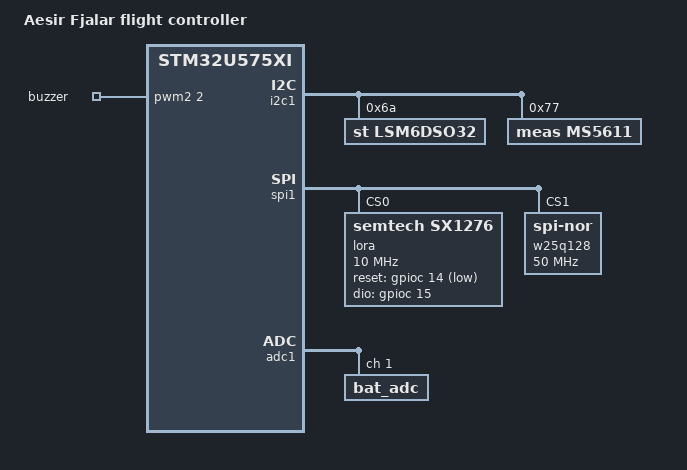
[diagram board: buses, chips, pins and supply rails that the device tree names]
/dts-v1/;

#include <st/u5/stm32u575Xi.dtsi>
#include <st/u5/stm32u575zitxq-pinctrl.dtsi>
#include "fjalar.dtsi"

/ {

    model = "Aesir Fjalar flight controller";
	compatible = "aesir,fjalar";

	#address-cells = <1>;
	#size-cells = <1>;

	chosen {
		zephyr,console = &uart4;
		zephyr,shell-uart = &uart4;
		zephyr,sram = &sram0;
		zephyr,flash = &flash0;
		zephyr,canbus = &can1;
	};

    aliases {
		led0 = &ioled;
		external-uart = &uart4;
		data-flash = &w25q128;
		gps-uart = &usart1;
		buzzer = &buzzer;
		lora = &lora;
		bat-adc = &bat_adc;
	};

	zephyr,user {
		bat_numer = <2200>;
		bat_denom = <12200>;
	};

	pwmleds: pwmleds {
		compatible = "pwm-leds";
		status = "okay";

		buzzer: buzzer {
			pwms = <&pwm2 2 PWM_MSEC(20) PWM_POLARITY_NORMAL>;
		};
	};
};

&i2c1 {
	lsm6dso32: lsm6dso32@6a {
		status = "okay";
		compatible = "st,lsm6dso32", "st,lsm6dso";
		reg = <0x6a>;
	};

	ms5611: ms5611@77 {
		status = "okay";
		compatible = "meas,ms5611";
		reg = <0x77>;
	};
};

&spi1 {
	lora: lora@0 {
		compatible ="semtech,sx1276";
		reg = <0>;
		spi-max-frequency = <10000000>;
		status = "okay";
		reset-gpios = <&gpioc 14 GPIO_ACTIVE_LOW>;
		dio-gpios = <&gpioc 15 GPIO_ACTIVE_HIGH>;
		power-amplifier-output = "pa-boost";
	};

	w25q128: w25q128@1 {
		compatible ="jedec,spi-nor";
		size = <0x8000000>;
		reg = <1>;
		spi-max-frequency = <50000000>;
		status = "okay";
		jedec-id = [ef 70 18];
	};
};

&adc1 {
	#address-cells = <1>;
	#size-cells = <0>;

	bat_adc: bat_adc@1 {
		reg = <1>;
		zephyr,gain = "ADC_GAIN_1";
		zephyr,reference = "ADC_REF_INTERNAL";
		zephyr,acquisition-time = <ADC_ACQ_TIME_DEFAULT>;
		zephyr,resolution = <14>;
		zephyr,oversampling = <4>;
	};
};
